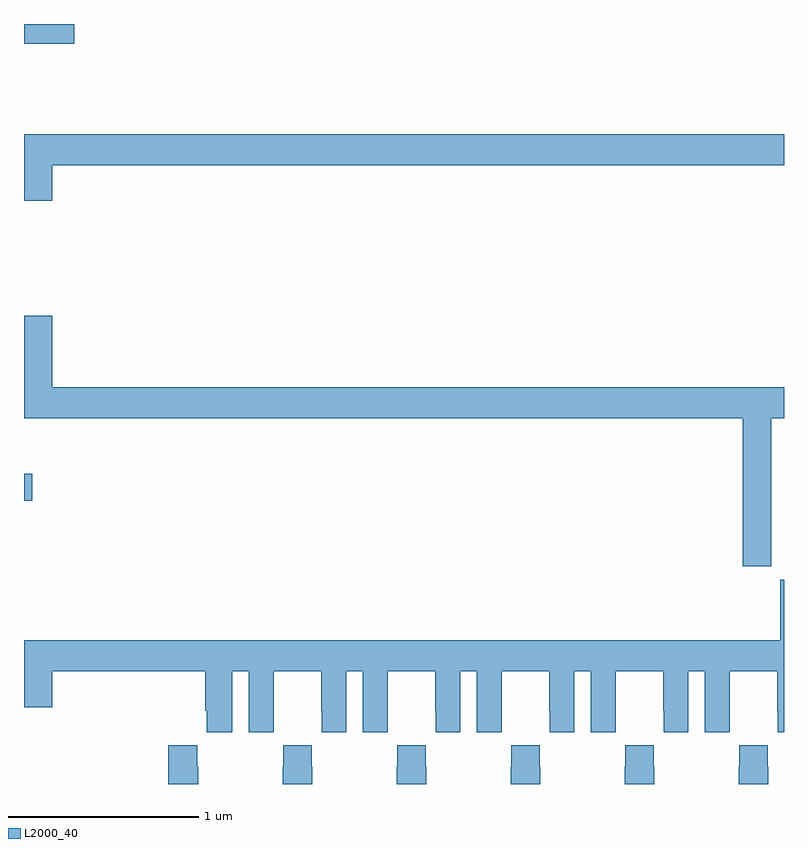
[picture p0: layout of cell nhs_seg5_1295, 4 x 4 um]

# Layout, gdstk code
import gdstk
lib = gdstk.Library(unit=1e-6, precision=1e-09)
def R(c, l, rs):  # rectangles x0, y0, x1, y1
    for r in rs: c.add(gdstk.rectangle(r[:2], r[2:], *l))
def P(c, l, *ps):  # polygons
    for p in ps: c.add(gdstk.Polygon(p, *l))
L2000_40 = (2000, 40)

nhs_seg5_1295 = lib.new_cell('nhs_seg5_1295')
R(nhs_seg5_1295, L2000_40, [(189,892.289,189.043,892.431), (189,894.694,189.265,894.799)])
P(nhs_seg5_1295, L2000_40, [(189,893.868),(189.148,893.868),(189.148,894.056),(193,894.056),(193,894.22),(189,894.22)],
  [(189,893.263),(189,892.724),(192.782,892.724),(192.782,891.945),(192.934,891.945),(192.934,892.724),(193,892.724),(193,892.888),(189.148,892.888),(189.148,893.263)],
  [(190.096,891.392),(190.184,891.392),(190.184,891.072),(190.314,891.072),(190.314,891.184),(190.315,891.184),(190.315,891.392),(190.565,891.392),(190.565,891.184),(190.566,891.184),(190.566,891.072),(190.696,891.072),(190.696,891.392),(190.784,891.392),(190.784,891.072),(190.914,891.072),(190.914,891.184),(190.915,891.184),(190.915,891.392),(191.165,891.392),(191.165,891.184),(191.166,891.184),(191.166,891.072),(191.296,891.072),(191.296,891.392),(191.384,891.392),(191.384,891.072),(191.514,891.072),(191.514,891.184),(191.515,891.184),(191.515,891.392),(191.765,891.392),(191.765,891.184),(191.766,891.184),(191.766,891.072),(191.896,891.072),(191.896,891.392),(191.984,891.392),(191.984,891.072),(192.114,891.072),(192.114,891.184),(192.115,891.184),(192.115,891.392),(192.365,891.392),(192.365,891.184),(192.366,891.184),(192.366,891.072),(192.496,891.072),(192.496,891.392),(192.584,891.392),(192.584,891.072),(192.714,891.072),(192.714,891.184),(192.715,891.184),(192.715,891.392),(192.965,891.392),(192.965,891.184),(192.966,891.184),(192.966,891.072),(193,891.072),(193,891.873),(192.98,891.873),(192.98,891.556),(189,891.556),(189,891.204),(189.148,891.204),(189.148,891.392),(189.953,891.392),(189.953,891.184),(189.962,891.184),(189.962,891.072),(190.096,891.072)],
  [(189.918,890.891),(189.911,890.891),(189.911,891.004),(189.758,891.004),(189.758,890.799),(189.918,890.799)],
  [(190.518,890.891),(190.515,890.891),(190.515,891.004),(190.365,891.004),(190.365,890.891),(190.363,890.891),(190.363,890.799),(190.518,890.799)],
  [(191.118,890.891),(191.115,890.891),(191.115,891.004),(190.965,891.004),(190.965,890.891),(190.963,890.891),(190.963,890.799),(191.118,890.799)],
  [(191.718,890.891),(191.715,890.891),(191.715,891.004),(191.565,891.004),(191.565,890.891),(191.563,890.891),(191.563,890.799),(191.718,890.799)],
  [(192.318,890.891),(192.315,890.891),(192.315,891.004),(192.165,891.004),(192.165,890.891),(192.163,890.891),(192.163,890.799),(192.318,890.799)],
  [(192.918,890.891),(192.915,890.891),(192.915,891.004),(192.765,891.004),(192.765,890.891),(192.763,890.891),(192.763,890.799),(192.918,890.799)])

lib.write_gds('nhs_seg5_1295.gds')
